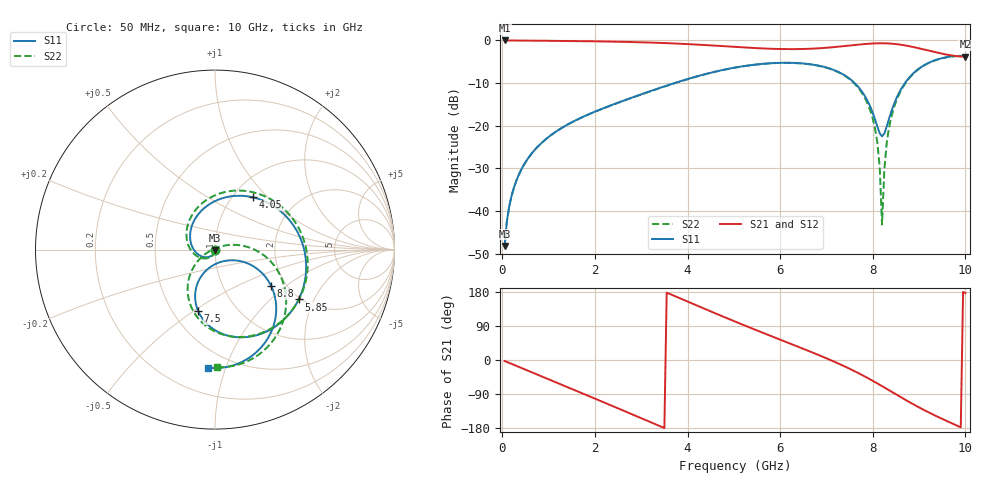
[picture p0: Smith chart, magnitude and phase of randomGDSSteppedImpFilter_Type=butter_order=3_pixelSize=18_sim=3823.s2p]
! freq	dB(S11)	phase(S11)	dB(S12)	phase(S12)
!  dB(S21)	phase(S21)	dB(S22)	phase(S22)
!S-par simulation data
#  GHz  S  DB  R 50
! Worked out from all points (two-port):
!   200 points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, 50 MHz to 10 GHz, reference 50 ohm
!   highest |S21| = 0.00 dB at 50 MHz (marker M1); lowest = -3.8 dB at 10 GHz (marker M2)
!   |S21| within 3 dB of the highest: start of sweep to 9.448 GHz
!   lowest |S11| = -48.2 dB at 50 MHz (marker M3), VSWR 1.01, Z = 50 - j0.39 ohm
!   |S11| at or under -10 dB: start of sweep to 3.717 GHz; 7.61 GHz to 8.694 GHz (1.084 GHz wide, 13.3 % of centre)
!   |S22| runs from -48.2 to -3.7 dB; largest |S21 - S12| = 0
!   S11 on the Smith chart (normalised r, x): 50 MHz: 1.00, -0.01; 4.05 GHz: 1.23, +0.82; 5.85 GHz: 1.95, -1.53; 7.5 GHz: 0.66, -0.52; 8.8 GHz: 1.68, -0.79; 10 GHz: 0.38, -0.87
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0.05  -48.17 -90.3  -0.00 -2.6  -0.00 -2.6  -48.21 -90.4
0.2  -36.45 -100.0  -0.02 -10.2  -0.02 -10.2  -36.46 -98.3
0.5  -28.55 -118.0  -0.04 -25.5  -0.04 -25.5  -28.56 -114.0
1.15  -21.43 -154.3  -0.10 -58.5  -0.10 -58.5  -21.44 -145.3
1.75  -17.86 173.0  -0.17 -89.1  -0.17 -89.1  -17.89 -174.2
2.5  -14.58 133.0  -0.30 -127.6  -0.30 -127.6  -14.62 148.6
3.4  -11.13 86.7  -0.57 -174.4  -0.57 -174.4  -11.17 101.7
4.05  -8.89 54.2  -0.88 151.6  -0.88 151.6  -8.92 66.8
5.05  -6.31 5.9  -1.53 100.3  -1.53 100.3  -6.33 13.9
5.85  -5.31 -30.8  -1.97 60.9  -1.97 60.9  -5.33 -26.4
6.7  -5.66 -68.7  -1.92 19.7  -1.92 19.7  -5.69 -68.3
7.5  -8.96 -105.1  -1.19 -23.1  -1.19 -23.1  -9.10 -111.7
7.85  -13.41 -117.3  -0.82 -44.9  -0.82 -44.9  -13.92 -134.2
8.05  -18.53 -111.3  -0.69 -58.4  -0.69 -58.4  -20.68 -149.8
8.15  -21.76 -90.3  -0.66 -65.3  -0.66 -65.3  -29.66 -163.7
8.2  -22.47 -71.5  -0.66 -68.9  -0.66 -68.9  -43.13 121.1
8.25  -21.82 -52.2  -0.67 -72.4  -0.67 -72.4  -30.22 31.5
8.35  -18.39 -29.6  -0.71 -79.6  -0.71 -79.6  -20.50 16.4
8.55  -12.64 -23.4  -0.92 -94.1  -0.92 -94.1  -13.08 -0.2
8.8  -8.55 -33.0  -1.37 -111.7  -1.37 -111.7  -8.69 -18.5
9.3  -4.81 -59.1  -2.64 -143.9  -2.64 -143.9  -4.85 -50.8
10  -3.63 -93.4  -3.82 176.6  -3.82 176.6  -3.69 -89.2
